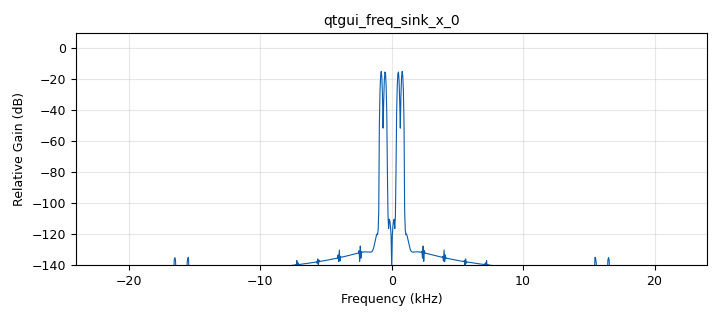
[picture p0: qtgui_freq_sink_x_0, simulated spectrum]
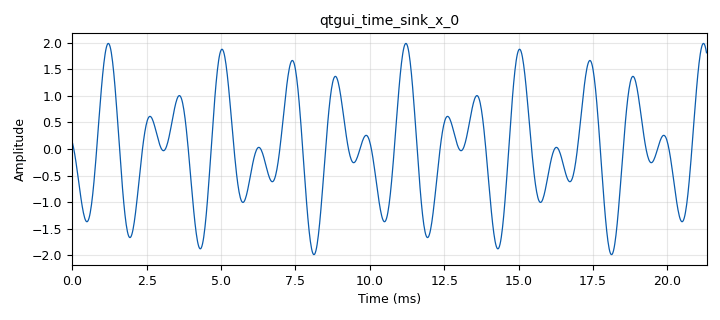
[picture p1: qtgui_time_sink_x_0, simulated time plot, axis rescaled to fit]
options:
  parameters:
    author: Studente
    generate_options: qt_gui
    id: part_c
    output_language: python
    title: Not titled yet
  states: {}

blocks:
- name: freq1
  id: variable_qtgui_chooser
  parameters:
    label0: '500'
    label1: '1000'
    label2: '15000'
    num_opts: '3'
    option0: '500'
    option1: '1000'
    option2: '15000'
    type: real
    value: '500'
    widget: radio_buttons
  states: {}
- name: freq2
  id: variable_qtgui_range
  parameters:
    start: '10'
    step: '100'
    stop: '2000'
    value: '800'
  states: {}
- name: samp_rate
  id: variable
  parameters:
    value: '48000'
  states: {}
- name: analog_sig_source_x_0
  id: analog_sig_source_x
  parameters:
    amp: '1'
    freq: freq1
    offset: '0'
    phase: '0'
    samp_rate: samp_rate
    type: float
    waveform: analog.GR_SIN_WAVE
  states: {}
- name: analog_sig_source_x_0_0
  id: analog_sig_source_x
  parameters:
    amp: '1'
    freq: freq2
    offset: '0'
    phase: '0'
    samp_rate: samp_rate
    type: float
    waveform: analog.GR_SIN_WAVE
  states: {}
- name: audio_sink_0
  id: audio_sink
  parameters:
    samp_rate: samp_rate
  states: {}
- name: blocks_add_xx_0
  id: blocks_add_xx
  parameters:
    type: float
  states: {}
- name: blocks_throttle_0
  id: blocks_throttle
  parameters:
    samples_per_second: samp_rate
    type: float
  states: {}
- name: qtgui_freq_sink_x_0
  id: qtgui_freq_sink_x
  parameters:
    bw: samp_rate
    fc: '0'
    fftsize: '1024'
    type: float
  states: {}
- name: qtgui_time_sink_x_0
  id: qtgui_time_sink_x
  parameters:
    size: '1024'
    srate: samp_rate
    type: float
  states: {}

connections:
- [analog_sig_source_x_0, '0', blocks_add_xx_0, '0']
- [analog_sig_source_x_0_0, '0', blocks_add_xx_0, '1']
- [blocks_add_xx_0, '0', blocks_throttle_0, '0']
- [blocks_throttle_0, '0', audio_sink_0, '0']
- [blocks_throttle_0, '0', qtgui_freq_sink_x_0, '0']
- [blocks_throttle_0, '0', qtgui_time_sink_x_0, '0']

metadata:
  file_format: 1
  grc_version: 3.10.7.0
